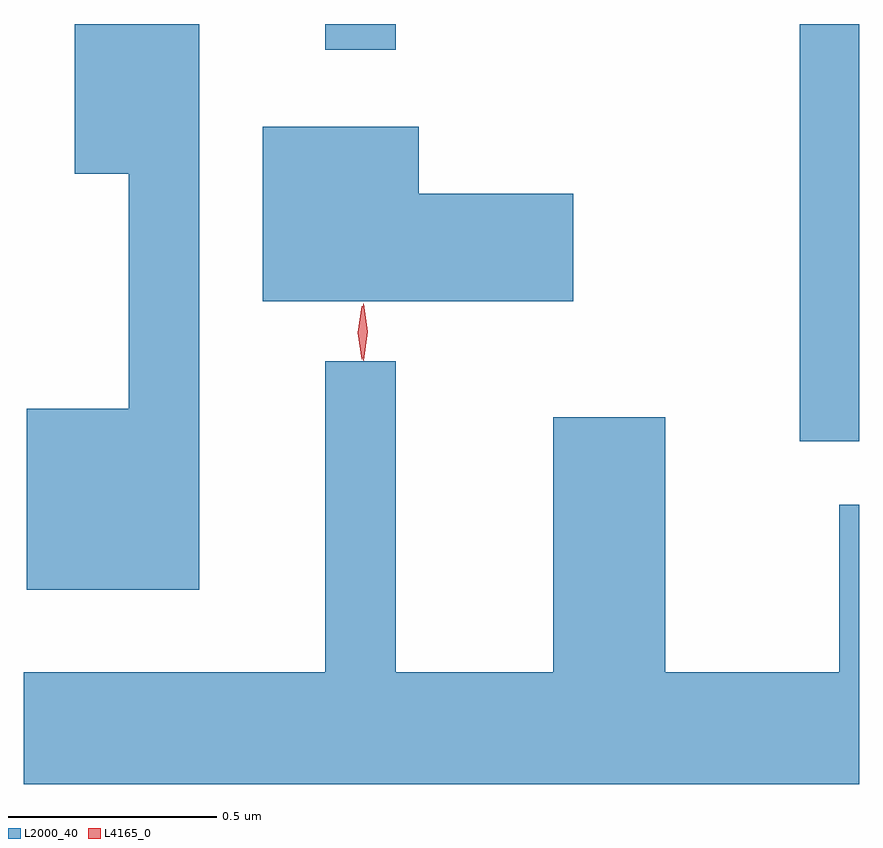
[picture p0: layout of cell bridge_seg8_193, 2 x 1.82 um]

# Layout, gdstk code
import gdstk
lib = gdstk.Library(unit=1e-6, precision=1e-09)
def R(c, l, rs):  # rectangles x0, y0, x1, y1
    for r in rs: c.add(gdstk.rectangle(r[:2], r[2:], *l))
def P(c, l, *ps):  # polygons
    for p in ps: c.add(gdstk.Polygon(p, *l))
L2000_40 = (2000, 40)
L4165_0 = (4165, 0)

bridge_seg8_193 = lib.new_cell('bridge_seg8_193')
R(bridge_seg8_193, L2000_40, [(1154.726,1928.256,1154.869,1929.255), (1153.591,1929.193,1153.759,1929.255)])
P(bridge_seg8_193, L2000_40, [(1153.289,1929.255),(1152.991,1929.255),(1152.991,1928.896),(1153.121,1928.896),(1153.121,1928.334),(1152.876,1928.334),(1152.876,1927.901),(1153.289,1927.901)],
  [(1154.184,1928.849),(1153.814,1928.849),(1153.814,1929.009),(1153.441,1929.009),(1153.441,1928.591),(1154.184,1928.591)],
  [(1154.869,1928.104),(1154.821,1928.104),(1154.821,1927.704),(1154.404,1927.704),(1154.404,1928.314),(1154.136,1928.314),(1154.136,1927.704),(1153.759,1927.704),(1153.759,1928.448),(1153.591,1928.448),(1153.591,1927.704),(1152.869,1927.704),(1152.869,1927.436),(1154.869,1927.436)])
P(bridge_seg8_193, L4165_0, [(1153.678,1928.453),(1153.669,1928.516),(1153.678,1928.579),(1153.679,1928.58),(1153.679,1928.579),(1153.689,1928.516),(1153.679,1928.453),(1153.679,1928.453)],
  [(1153.683,1928.449),(1153.682,1928.45),(1153.673,1928.518),(1153.682,1928.586),(1153.683,1928.586),(1153.683,1928.586),(1153.693,1928.518),(1153.683,1928.45)])

lib.write_gds('bridge_seg8_193.gds')
